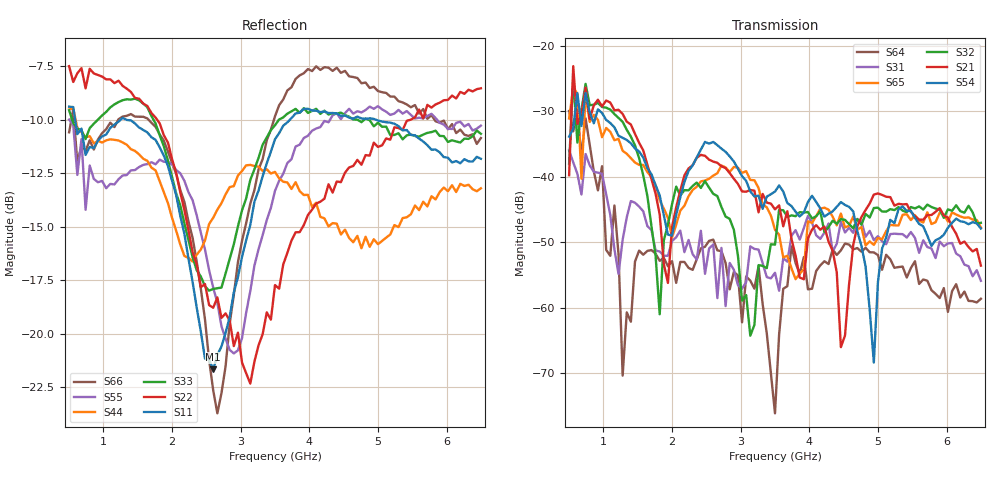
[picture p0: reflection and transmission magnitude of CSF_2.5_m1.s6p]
!Keysight Technologies,M9804A,MY58100912,A.14.10.03
!Date: Thursday, April 27, 2023 10:28:33
!Correction: S11(C  6-Port  )
!S12(C  6-Port  )
!S13(C  6-Port  )
!S14(C  6-Port  )
!S15(C  6-Port  )
!S16(C  6-Port  )
!S21(C  6-Port  )
!S22(C  6-Port  )
!S23(C  6-Port  )
!S24(C  6-Port  )
!S25(C  6-Port  )
!S26(C  6-Port  )
!S31(C  6-Port  )
!S32(C  6-Port  )
!S33(C  6-Port  )
!S34(C  6-Port  )
!S35(C  6-Port  )
!S36(C  6-Port  )
!S41(C  6-Port  )
!S42(C  6-Port  )
!S43(C  6-Port  )
!S44(C  6-Port  )
!S45(C  6-Port  )
!S46(C  6-Port  )
!S51(C  6-Port  )
!S52(C  6-Port  )
!S53(C  6-Port  )
!S54(C  6-Port  )
!S55(C  6-Port  )
!S56(C  6-Port  )
!S61(C  6-Port  )
!S62(C  6-Port  )
!S63(C  6-Port  )
!S64(C  6-Port  )
!S65(C  6-Port  )
!S66(C  6-Port  )
!S6P File: Measurement: :
# Hz S  RI  R 50
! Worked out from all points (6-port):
!   101 points, 500 MHz to 6.5 GHz, reference 50 ohm
!   strongest paths, dB at 500 MHz, 2 GHz, 3.5 GHz, 5 GHz, 6.5 GHz:
!     S54: -33.9, -49.0, -42.3, -56.0, -47.9
!     S21: -39.8, -47.7, -45.0, -42.5, -53.6
!     S32: -38.0, -44.2, -50.4, -44.7, -47.0
!     S65: -31.1, -49.3, -48.1, -49.3, -47.7
!     S31: -36.0, -49.8, -54.7, -49.1, -55.9
!     S64: -30.0, -52.9, -76.1, -52.0, -58.6
!   lowest |S11| = -21.7 dB at 2.6 GHz (marker M1), VSWR 1.18, Z = 42.6 + j2 ohm
!   |S11| at or under -10 dB: 588.4 MHz to 1.249 GHz (660.3 MHz wide, 71.9 % of centre); 1.338 GHz to 3.715 GHz (2.377 GHz wide, 94.1 % of centre); 4.976 GHz to end of sweep
